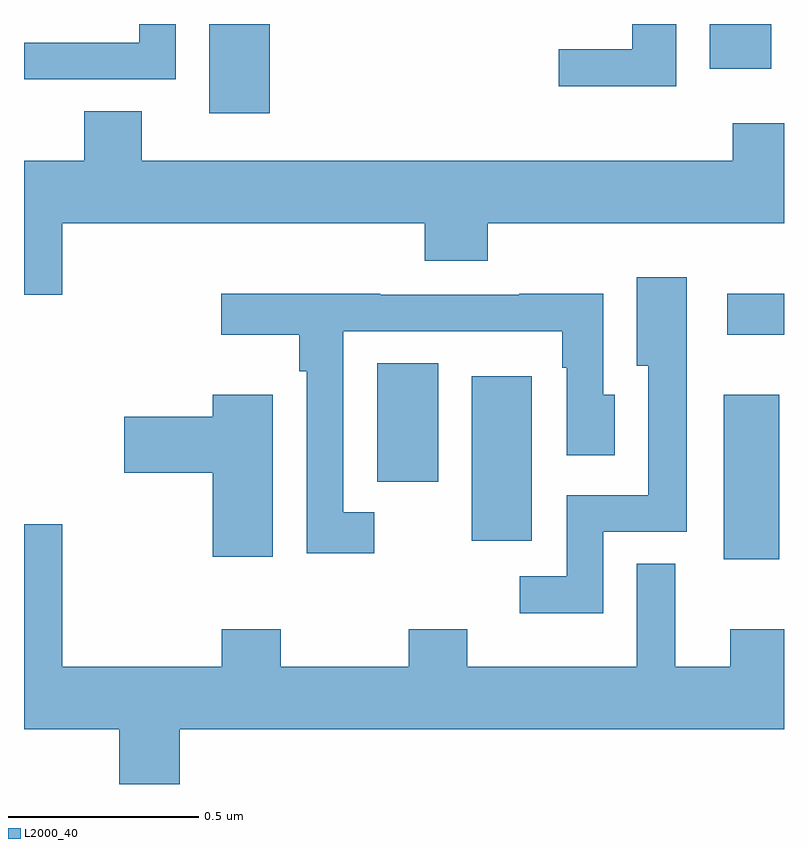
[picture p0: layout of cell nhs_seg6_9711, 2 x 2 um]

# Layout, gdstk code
import gdstk
lib = gdstk.Library(unit=1e-6, precision=1e-09)
def R(c, l, rs):  # rectangles x0, y0, x1, y1
    for r in rs: c.add(gdstk.rectangle(r[:2], r[2:], *l))
def P(c, l, *ps):  # polygons
    for p in ps: c.add(gdstk.Polygon(p, *l))
L2000_40 = (2000, 40)

nhs_seg6_9711 = lib.new_cell('nhs_seg6_9711')
R(nhs_seg6_9711, L2000_40, [(238.841,973.091,238.987,973.525), (238.178,973.14,238.336,973.573), (237.929,973.296,238.09,973.607), (238.851,973.682,239,973.79), (237.488,974.265,237.647,974.5), (238.805,974.382,238.966,974.5)])
P(nhs_seg6_9711, L2000_40, [(238.716,974.5),(238.6,974.5),(238.6,974.434),(238.407,974.434),(238.407,974.336),(238.716,974.336)],
  [(237.074,974.355),(237.399,974.355),(237.399,974.5),(237.303,974.5),(237.303,974.451),(237,974.451),(237,974.354),(237.074,974.354)],
  [(237.1,973.976),(238.055,973.976),(238.055,973.877),(238.22,973.877),(238.22,973.976),(239,973.976),(239,974.239),(238.865,974.239),(238.865,974.14),(237.31,974.14),(237.31,974.27),(237.158,974.27),(237.158,974.14),(237,974.14),(237,973.788),(237.1,973.788)],
  [(238.524,973.164),(238.744,973.164),(238.744,973.834),(238.613,973.834),(238.613,973.601),(238.643,973.601),(238.643,973.26),(238.428,973.26),(238.428,973.047),(238.305,973.047),(238.305,972.95),(238.524,972.95)],
  [(237.922,973.215),(237.84,973.215),(237.84,973.692),(238.416,973.692),(238.416,973.595),(238.428,973.595),(238.428,973.365),(238.555,973.365),(238.555,973.524),(238.524,973.524),(238.524,973.79),(238.303,973.79),(238.303,973.788),(237.937,973.788),(237.937,973.79),(237.519,973.79),(237.519,973.682),(237.724,973.682),(237.724,973.586),(237.744,973.586),(237.744,973.107),(237.922,973.107)],
  [(237.655,973.525),(237.497,973.525),(237.497,973.466),(237.264,973.466),(237.264,973.319),(237.497,973.319),(237.497,973.098),(237.655,973.098)],
  [(237.41,972.644),(239,972.644),(239,972.907),(238.859,972.907),(238.859,972.808),(238.714,972.808),(238.714,973.079),(238.613,973.079),(238.613,972.808),(238.167,972.808),(238.167,972.907),(238.012,972.907),(238.012,972.808),(237.675,972.808),(237.675,972.907),(237.52,972.907),(237.52,972.808),(237.1,972.808),(237.1,973.183),(237,973.183),(237,972.644),(237.25,972.644),(237.25,972.5),(237.41,972.5)])

lib.write_gds('nhs_seg6_9711.gds')
